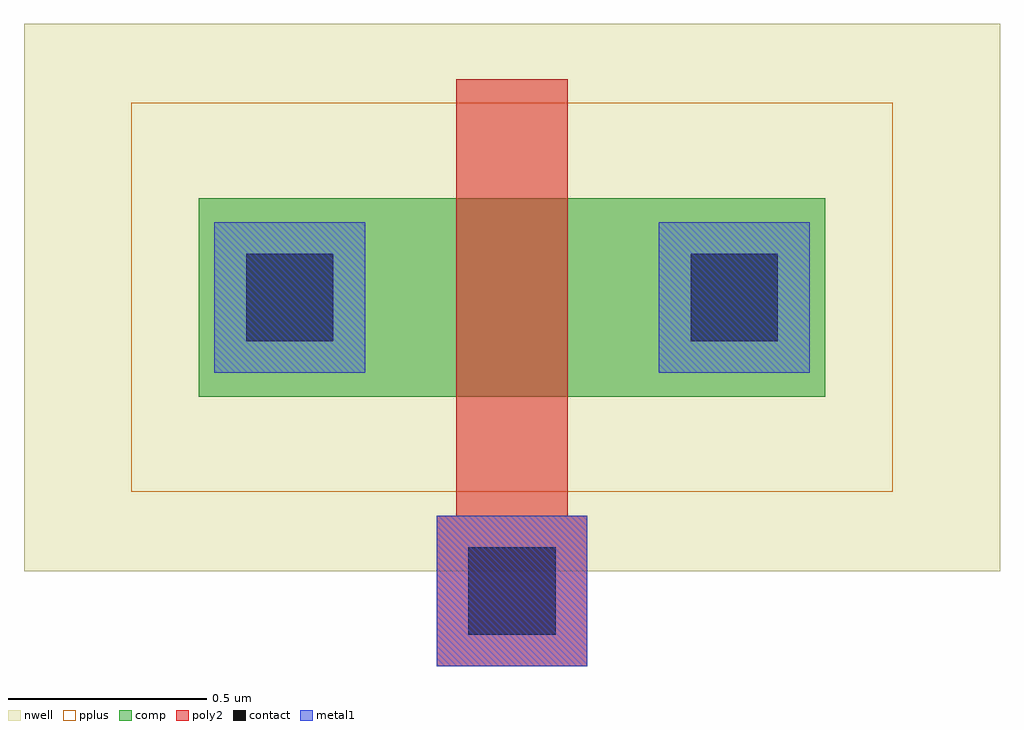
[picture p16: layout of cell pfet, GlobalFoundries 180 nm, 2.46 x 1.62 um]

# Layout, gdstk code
import gdstk
lib = gdstk.Library(unit=1e-6, precision=5e-09)
def R(c, l, rs):  # rectangles x0, y0, x1, y1
    for r in rs: c.add(gdstk.rectangle(r[:2], r[2:], *l))
nwell = (21, 0)
comp = (22, 0)
poly2 = (30, 0)
pplus = (31, 0)
contact = (33, 0)
metal1 = (34, 0)

pfet = lib.new_cell('pfet')
R(pfet, nwell, [(-0.9,-0.44,1.56,0.94)])
R(pfet, comp, [(-0.46,0,0,0.5), (0,0,0.66,0.5), (0.66,0,1.12,0.5)])
R(pfet, poly2, [(0.14,-0.68,0.52,-0.3), (0.19,-0.3,0.47,0.8)])
R(pfet, pplus, [(-0.63,-0.24,1.29,0.74)])
R(pfet, contact, [(0.22,-0.6,0.44,-0.38), (-0.34,0.14,-0.12,0.36), (0.78,0.14,1,0.36)])
R(pfet, metal1, [(0.14,-0.68,0.52,-0.3), (-0.42,0.06,-0.04,0.44), (0.7,0.06,1.08,0.44)])

lib.write_gds('pfet.gds')
